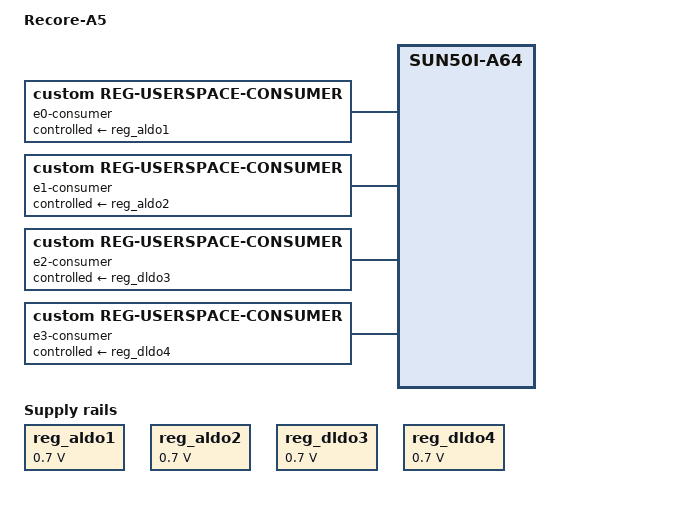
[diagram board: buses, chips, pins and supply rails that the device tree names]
// SPDX-License-Identifier: (GPL-2.0+ OR MIT)

/dts-v1/;

#include "sun50i-a64-recore.dtsi"

/ {
	model = "Recore-A5";
	compatible = "iagent,recore-a5", "allwinner,sun50i-a64";

	e0-consumer {
		compatible = "custom,reg-userspace-consumer";
		regulator-name = "e0-consumer";
		controlled-supply = <&reg_aldo1>;
	};

	e1-consumer {
		compatible = "custom,reg-userspace-consumer";
		regulator-name = "e1-consumer";
		controlled-supply = <&reg_aldo2>;
	};

	e2-consumer {
		compatible = "custom,reg-userspace-consumer";
		regulator-name = "e2-consumer";
		controlled-supply = <&reg_dldo3>;
	};

	e3-consumer {
		compatible = "custom,reg-userspace-consumer";
		regulator-name = "e3-consumer";
		controlled-supply = <&reg_dldo4>;
	};
};

&reg_aldo1 {
	/delete-property/ regulator-always-on;
	regulator-min-microvolt = <700000>;
	regulator-max-microvolt = <700000>;
	regulator-name = "vcc-vref-e0";
};

&reg_aldo2 {
	/delete-property/ regulator-always-on;
	regulator-min-microvolt = <700000>;
	regulator-max-microvolt = <700000>;
	regulator-name = "vcc-vref-e1";
};

&reg_dldo3 {
	/delete-property/ regulator-always-on;
	regulator-min-microvolt = <700000>;
	regulator-max-microvolt = <700000>;
	regulator-name = "vcc-vref-e2";
};

&reg_dldo4 {
  /delete-property/ regulator-always-on;
  regulator-min-microvolt = <700000>;
  regulator-max-microvolt = <700000>;
  regulator-name = "vcc-vref-e3";
};
